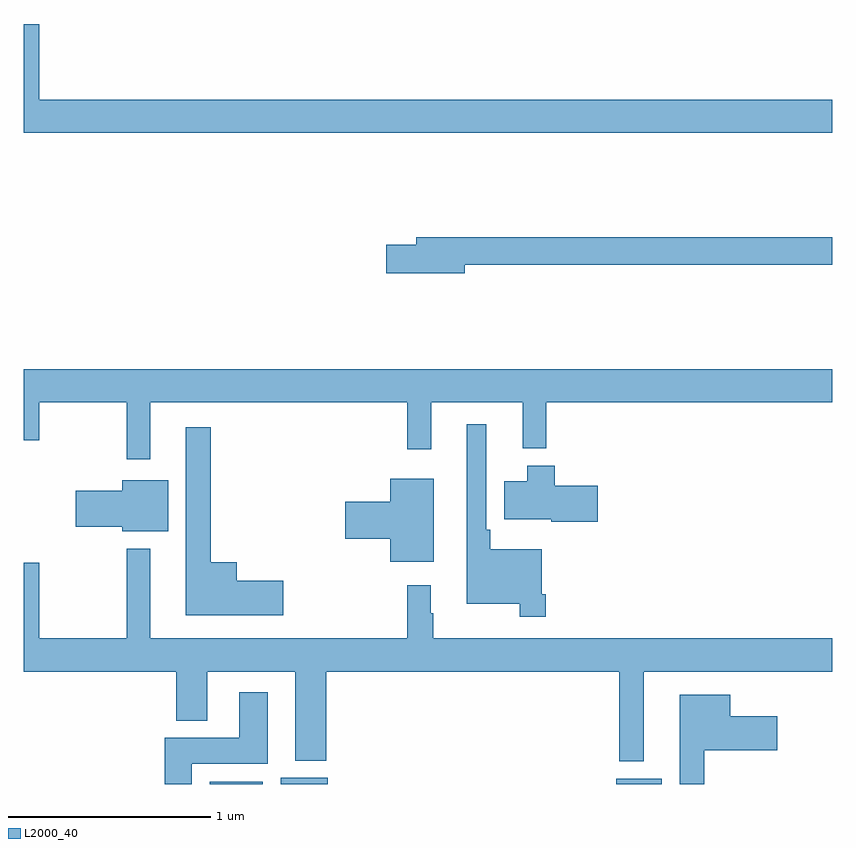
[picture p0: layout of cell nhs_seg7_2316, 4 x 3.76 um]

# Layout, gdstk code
import gdstk
lib = gdstk.Library(unit=1e-6, precision=1e-09)
def R(c, l, rs):  # rectangles x0, y0, x1, y1
    for r in rs: c.add(gdstk.rectangle(r[:2], r[2:], *l))
def P(c, l, *ps):  # polygons
    for p in ps: c.add(gdstk.Polygon(p, *l))
L2000_40 = (2000, 40)

nhs_seg7_2316 = lib.new_cell('nhs_seg7_2316')
R(nhs_seg7_2316, L2000_40, [(261.92,1060,262.183,1060.012), (262.271,1060,262.504,1060.03), (263.93,1060,264.157,1060.027)])
P(nhs_seg7_2316, L2000_40, [(265,1063.384),(261.076,1063.384),(261.076,1063.759),(261,1063.759),(261,1063.22),(265,1063.22)],
  [(263.182,1062.568),(265,1062.568),(265,1062.704),(262.943,1062.704),(262.943,1062.668),(262.794,1062.668),(262.794,1062.526),(263.182,1062.526)],
  [(261.625,1061.888),(262.897,1061.888),(262.897,1061.655),(263.015,1061.655),(263.015,1061.888),(263.468,1061.888),(263.468,1061.66),(263.585,1061.66),(263.585,1061.888),(265,1061.888),(265,1062.052),(261,1062.052),(261,1061.7),(261.076,1061.7),(261.076,1061.888),(261.511,1061.888),(261.511,1061.607),(261.625,1061.607)],
  [(263.582,1060.939),(263.562,1060.939),(263.562,1061.161),(263.309,1061.161),(263.309,1061.257),(263.289,1061.257),(263.289,1061.779),(263.192,1061.779),(263.192,1060.892),(263.454,1060.892),(263.454,1060.827),(263.582,1060.827)],
  [(262.285,1061.006),(262.054,1061.006),(262.054,1061.098),(261.925,1061.098),(261.925,1061.764),(261.803,1061.764),(261.803,1060.835),(262.285,1060.835)],
  [(263.839,1061.475),(263.627,1061.475),(263.627,1061.575),(263.492,1061.575),(263.492,1061.497),(263.378,1061.497),(263.378,1061.309),(263.61,1061.309),(263.61,1061.297),(263.839,1061.297)],
  [(263.029,1061.509),(262.814,1061.509),(262.814,1061.396),(262.59,1061.396),(262.59,1061.213),(262.814,1061.213),(262.814,1061.099),(263.029,1061.099)],
  [(261.715,1061.503),(261.488,1061.503),(261.488,1061.451),(261.258,1061.451),(261.258,1061.273),(261.488,1061.273),(261.488,1061.249),(261.715,1061.249)],
  [(264.067,1060.556),(265,1060.556),(265,1060.72),(263.026,1060.72),(263.026,1060.844),(263.014,1060.844),(263.014,1060.984),(262.897,1060.984),(262.897,1060.72),(261.625,1060.72),(261.625,1061.164),(261.511,1061.164),(261.511,1060.72),(261.076,1060.72),(261.076,1061.095),(261,1061.095),(261,1060.556),(261.755,1060.556),(261.755,1060.313),(261.907,1060.313),(261.907,1060.556),(262.343,1060.556),(262.343,1060.115),(262.496,1060.115),(262.496,1060.556),(263.946,1060.556),(263.946,1060.112),(264.067,1060.112)],
  [(261.832,1060.1),(262.207,1060.1),(262.207,1060.453),(262.067,1060.453),(262.067,1060.228),(261.698,1060.228),(261.698,1060),(261.832,1060)],
  [(264.367,1060.166),(264.727,1060.166),(264.727,1060.336),(264.496,1060.336),(264.496,1060.441),(264.245,1060.441),(264.245,1060),(264.367,1060)])

lib.write_gds('nhs_seg7_2316.gds')
